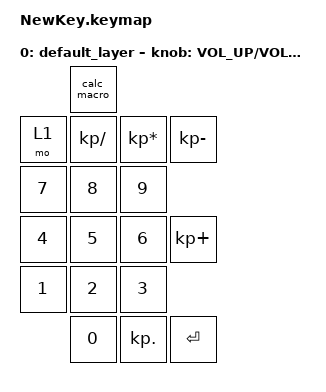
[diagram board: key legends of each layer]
#include <behaviors.dtsi>
#include <dt-bindings/zmk/keys.h>

/ {

        macros {
    calc_macro: calc_macro {
        compatible = "zmk,behavior-macro";
        #binding-cells = <0>;
        bindings = <
            &kp LGUI &kp R
            &macro_wait_time 30
            &kp C &kp A &kp L &kp C
            &macro_wait_time 30
            &kp ENTER
        >;
    };
};


    keymap {
        compatible = "zmk,keymap";

        default_layer {
            bindings = <
                  &calc_macro
            &mo 1  &kp KP_SLASH &kp KP_ASTERISK &kp KP_MINUS
            &kp N7 &kp N8 &kp N9
            &kp N4 &kp N5 &kp N6 &kp KP_PLUS
            &kp N1 &kp N2 &kp N3
                   &kp N0 &kp KP_DOT &kp ENTER

            >;

            sensor-bindings = <&inc_dec_kp C_VOL_UP C_VOL_DN>;
        };
    };
};
